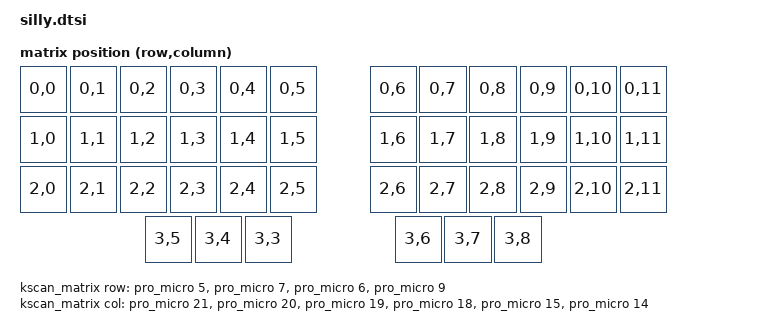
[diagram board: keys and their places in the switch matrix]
#include <dt-bindings/zmk/matrix_transform.h>

/ {
    default_transform: keymap_transform_0 {
        compatible = "zmk,matrix-transform";
        columns = <12>;
        rows = <4>;
        
        map = <
            RC(0,0) RC(0,1) RC(0,2) RC(0,3) RC(0,4) RC(0,5)     RC(0,6) RC(0,7) RC(0,8) RC(0,9) RC(0,10) RC(0,11)
            RC(1,0) RC(1,1) RC(1,2) RC(1,3) RC(1,4) RC(1,5)     RC(1,6) RC(1,7) RC(1,8) RC(1,9) RC(1,10) RC(1,11)
            RC(2,0) RC(2,1) RC(2,2) RC(2,3) RC(2,4) RC(2,5)     RC(2,6) RC(2,7) RC(2,8) RC(2,9) RC(2,10) RC(2,11)
                    RC(3,5) RC(3,4) RC(3,3)             RC(3,6) RC(3,7) RC(3,8)
        >;
    };

    kscan_matrix: kscan_matrix {
        compatible = "zmk,kscan-gpio-matrix";
        diode-direction = "col2row";

        row-gpios
            = <&pro_micro 5  (GPIO_ACTIVE_HIGH | GPIO_PULL_DOWN)>  /* R0 P0.24 */
            , <&pro_micro 7  (GPIO_ACTIVE_HIGH | GPIO_PULL_DOWN)>  /* R1 P0.11 */
            , <&pro_micro 6  (GPIO_ACTIVE_HIGH | GPIO_PULL_DOWN)>  /* R2 P1.00 */
            , <&pro_micro 9  (GPIO_ACTIVE_HIGH | GPIO_PULL_DOWN)>  /* R3 P1.06 */
            ;

        col-gpios
            = <&pro_micro 21 GPIO_ACTIVE_HIGH>  /* C0 P0.31 */
            , <&pro_micro 20 GPIO_ACTIVE_HIGH>  /* C1 P0.29 */
            , <&pro_micro 19 GPIO_ACTIVE_HIGH>  /* C2 P0.02 */
            , <&pro_micro 18 GPIO_ACTIVE_HIGH>  /* C3 P1.15 */
            , <&pro_micro 15 GPIO_ACTIVE_HIGH>  /* C4 P1.13 */
            , <&pro_micro 14 GPIO_ACTIVE_HIGH>  /* C5 P1.11 */
            ;
    };

    // BOTH sides need physical layout definition for Studio
    physical_layout: physical_layout {
        compatible = "zmk,physical-layout";
        display-name = "Silly Split";
        transform = <&default_transform>;
        kscan = <&kscan_matrix>;
        
        keys
            = <&key_physical_attrs 100 100   0    0     0     0    0>
            , <&key_physical_attrs 100 100 100    0     0     0    0>
            , <&key_physical_attrs 100 100 200    0     0     0    0>
            , <&key_physical_attrs 100 100 300    0     0     0    0>
            , <&key_physical_attrs 100 100 400    0     0     0    0>
            , <&key_physical_attrs 100 100 500    0     0     0    0>
            , <&key_physical_attrs 100 100 700    0     0     0    0>
            , <&key_physical_attrs 100 100 800    0     0     0    0>
            , <&key_physical_attrs 100 100 900    0     0     0    0>
            , <&key_physical_attrs 100 100 1000   0     0     0    0>
            , <&key_physical_attrs 100 100 1100   0     0     0    0>
            , <&key_physical_attrs 100 100 1200   0     0     0    0>
            , <&key_physical_attrs 100 100   0  100     0     0    0>
            , <&key_physical_attrs 100 100 100  100     0     0    0>
            , <&key_physical_attrs 100 100 200  100     0     0    0>
            , <&key_physical_attrs 100 100 300  100     0     0    0>
            , <&key_physical_attrs 100 100 400  100     0     0    0>
            , <&key_physical_attrs 100 100 500  100     0     0    0>
            , <&key_physical_attrs 100 100 700  100     0     0    0>
            , <&key_physical_attrs 100 100 800  100     0     0    0>
            , <&key_physical_attrs 100 100 900  100     0     0    0>
            , <&key_physical_attrs 100 100 1000 100     0     0    0>
            , <&key_physical_attrs 100 100 1100 100     0     0    0>
            , <&key_physical_attrs 100 100 1200 100     0     0    0>
            , <&key_physical_attrs 100 100   0  200     0     0    0>
            , <&key_physical_attrs 100 100 100  200     0     0    0>
            , <&key_physical_attrs 100 100 200  200     0     0    0>
            , <&key_physical_attrs 100 100 300  200     0     0    0>
            , <&key_physical_attrs 100 100 400  200     0     0    0>
            , <&key_physical_attrs 100 100 500  200     0     0    0>
            , <&key_physical_attrs 100 100 700  200     0     0    0>
            , <&key_physical_attrs 100 100 800  200     0     0    0>
            , <&key_physical_attrs 100 100 900  200     0     0    0>
            , <&key_physical_attrs 100 100 1000 200     0     0    0>
            , <&key_physical_attrs 100 100 1100 200     0     0    0>
            , <&key_physical_attrs 100 100 1200 200     0     0    0>
            , <&key_physical_attrs 100 100 250  300     0     0    0>
            , <&key_physical_attrs 100 100 350  300     0     0    0>
            , <&key_physical_attrs 100 100 450  300     0     0    0>
            , <&key_physical_attrs 100 100 750  300     0     0    0>
            , <&key_physical_attrs 100 100 850  300     0     0    0>
            , <&key_physical_attrs 100 100 950  300     0     0    0>
            ;
    };
};
